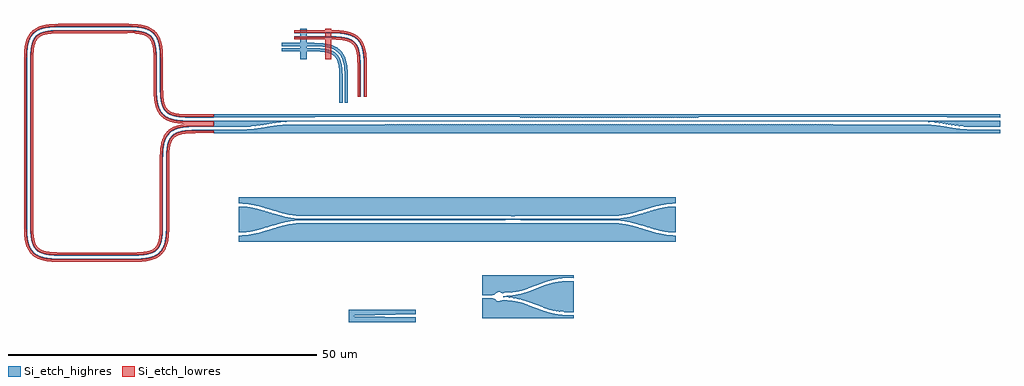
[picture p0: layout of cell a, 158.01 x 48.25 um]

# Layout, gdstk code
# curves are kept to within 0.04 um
import gdstk
lib = gdstk.Library(unit=1e-6, precision=1e-09)
def R(c, l, rs):  # rectangles x0, y0, x1, y1
    for r in rs: c.add(gdstk.rectangle(r[:2], r[2:], *l))
def P(c, l, *ps):  # polygons
    for p in ps: c.add(gdstk.Polygon(p, *l))
Si_etch_highres = (100, 0)
Si_etch_lowres = (101, 0)

ebeam_y_1550 = lib.new_cell('ebeam_y_1550')
P(ebeam_y_1550, Si_etch_highres, [(-5.926,0.245),(-7.4,0.25),(-7.4,3.5),(7.4,3.5),(7.4,3),(5.66,2.97),(4.147,2.762),(2.763,2.39),(-0.181,1.268),(-1.299,0.929),(-2.334,0.724),(-3.296,0.622),(-4.123,0.595),(-4.509,0.701),(-5.016,0.698),(-5.442,0.374)],
  [(6.456,-2.5),(5.119,-2.415),(3.799,-2.171),(2.706,-1.841),(-0.72,-0.567),(-2.381,-0.212),(-4,-0.1),(-4,0.1),(-2.493,0.197),(-1.009,0.487),(0.031,0.813),(2.869,1.898),(4.193,2.261),(5.678,2.47),(7.4,2.5),(7.4,-2.5)],
  [(-7.4,-3.5),(-7.4,-0.25),(-5.833,-0.25),(-5.434,-0.378),(-5.145,-0.647),(-4.991,-0.701),(-4.492,-0.699),(-4.123,-0.595),(-3.63,-0.606),(-1.909,-0.796),(-0.513,-1.154),(2.555,-2.318),(3.81,-2.688),(5.507,-2.958),(7.4,-3),(7.4,-3.5)])

ebeam_terminator_te1550 = lib.new_cell('ebeam_terminator_te1550')
P(ebeam_terminator_te1550, Si_etch_highres, [(-10.9,-1),(-10.9,1),(0,1),(0,0.25),(-10,0.03),(-10,-0.03),(0,-0.25),(0,-1)])

ebeam_bdc_te1550 = lib.new_cell('ebeam_bdc_te1550')
P(ebeam_bdc_te1550, Si_etch_highres, [(8.65,0.55),(7.65,0.6),(-25.958,0.62),(-27.055,0.75),(-28.135,0.975),(-32.95,2.326),(-34.288,2.543),(-35.45,2.6),(-35.45,3.6),(35.3,3.6),(35.3,2.6),(34.138,2.543),(32.8,2.326),(28.278,1.049),(26.31,0.666),(25.2,0.6),(10.2,0.6)],
  [(-35.45,-2.1),(-35.45,2.1),(-34.34,2.045),(-33.251,1.877),(-31.98,1.573),(-27.851,0.396),(-26.621,0.181),(-25.35,0.1),(7.65,0.1),(8.65,0.15),(10.2,0.1),(25.522,0.105),(26.679,0.209),(28.003,0.465),(31.733,1.546),(33.002,1.857),(34.19,2.045),(35.3,2.1),(35.3,-2.1),(34.19,-2.045),(32.904,-1.837),(28.104,-0.49),(26.988,-0.257),(26.052,-0.137),(10.2,-0.1),(9.2,-0.05),(7.65,-0.1),(-25.672,-0.105),(-26.829,-0.209),(-28.153,-0.465),(-31.883,-1.546),(-33.152,-1.857),(-34.34,-2.045)],
  [(-35.45,-3.6),(-35.45,-2.6),(-34.288,-2.543),(-33.153,-2.368),(-31.848,-2.055),(-27.842,-0.906),(-26.659,-0.69),(-25.554,-0.602),(7.65,-0.6),(8.65,-0.65),(10.2,-0.6),(25.505,-0.605),(26.608,-0.704),(27.79,-0.929),(31.698,-2.055),(33.003,-2.368),(34.138,-2.543),(35.3,-2.6),(35.3,-3.6)])

waveguide_5 = lib.new_cell('Waveguide$5')
P(waveguide_5, Si_etch_highres, [(10.175,0),(10.17,4.436),(10.081,5.782),(9.933,6.585),(9.701,7.267),(9.372,7.836),(9.032,8.212),(8.621,8.517),(8.139,8.755),(6.952,9.058),(5.435,9.171),(0,9.175),(0,9.675),(5.445,9.671),(6.844,9.578),(7.708,9.418),(8.325,9.22),(8.881,8.944),(9.368,8.582),(9.861,8.009),(10.219,7.326),(10.457,6.542),(10.617,5.47),(10.673,4.228),(10.675,0)],
  [(9.325,0),(9.323,4.212),(9.256,5.514),(9.004,6.722),(8.789,7.18),(8.523,7.523),(8.179,7.79),(7.721,8.005),(7.115,8.167),(6.347,8.274),(5.213,8.324),(0,8.325),(0,8.825),(5.217,8.824),(6.392,8.772),(7.211,8.658),(7.889,8.476),(8.339,8.276),(8.796,7.952),(9.156,7.535),(9.475,6.89),(9.686,6.058),(9.785,5.212),(9.825,0)])

c_df = lib.new_cell('df')
c_df.add(gdstk.Reference(waveguide_5, (0,0)))

waveguide_4 = lib.new_cell('Waveguide$4')
P(waveguide_4, Si_etch_highres, [(-39.005,-36.45),(-40.257,-36.409),(-41.331,-36.271),(-41.806,-36.158),(-42.242,-36.01),(-42.884,-35.675),(-43.218,-35.414),(-43.415,-35.217),(-43.594,-34.999),(-43.824,-34.639),(-44.114,-33.954),(-44.238,-33.493),(-44.33,-32.992),(-44.422,-32.061),(-44.45,-31),(-44.45,-3.995),(-44.432,-3.139),(-44.353,-2.184),(-44.237,-1.506),(-44.064,-0.899),(-43.823,-0.36),(-43.506,0.111),(-43.217,0.415),(-42.764,0.752),(-42.379,0.953),(-41.805,1.159),(-41.164,1.302),(-40.449,1.394),(-39,1.45),(-27.558,1.445),(-26.743,1.409),(-26.007,1.329),(-25.347,1.199),(-24.899,1.064),(-24.488,0.889),(-24.116,0.675),(-23.782,0.414),(-23.493,0.11),(-23.248,-0.236),(-23.047,-0.621),(-22.886,-1.046),(-22.762,-1.507),(-22.625,-2.366),(-22.559,-3.347),(-22.55,-8.65),(-22.497,-10.018),(-22.415,-10.661),(-22.292,-11.208),(-22.13,-11.662),(-21.869,-12.114),(-21.54,-12.461),(-21.111,-12.734),(-20.68,-12.906),(-20.01,-13.066),(-19.367,-13.148),(-18.423,-13.196),(-14,-13.2),(-14,-13.4),(-18.427,-13.396),(-19.206,-13.362),(-19.889,-13.288),(-20.612,-13.136),(-21.2,-12.913),(-21.667,-12.616),(-22.03,-12.233),(-22.262,-11.851),(-22.446,-11.392),(-22.584,-10.847),(-22.696,-10.036),(-22.748,-8.867),(-22.759,-3.353),(-22.823,-2.387),(-22.957,-1.551),(-23.077,-1.107),(-23.23,-0.703),(-23.419,-0.34),(-23.648,-0.017),(-24.119,0.432),(-24.456,0.647),(-24.832,0.824),(-25.396,1.005),(-26.036,1.131),(-26.757,1.209),(-27.562,1.245),(-39,1.25),(-40.431,1.195),(-41.13,1.105),(-41.75,0.966),(-42.167,0.825),(-42.66,0.581),(-43.082,0.267),(-43.432,-0.119),(-43.647,-0.456),(-43.875,-0.967),(-44.042,-1.55),(-44.155,-2.209),(-44.222,-2.95),(-44.248,-3.777),(-44.233,-31.851),(-44.177,-32.613),(-44.075,-33.292),(-43.923,-33.893),(-43.77,-34.297),(-43.51,-34.771),(-43.177,-35.177),(-42.881,-35.432),(-42.423,-35.71),(-41.894,-35.922),(-41.293,-36.074),(-40.614,-36.176),(-39.648,-36.24),(-26.563,-36.246),(-25.387,-36.177),(-24.551,-36.043),(-24.107,-35.923),(-23.703,-35.77),(-23.12,-35.433),(-22.823,-35.177),(-22.568,-34.881),(-22.231,-34.298),(-22.078,-33.894),(-21.958,-33.45),(-21.806,-32.432),(-21.75,-31.003),(-21.741,-19.519),(-21.697,-18.765),(-21.613,-18.106),(-21.486,-17.538),(-21.314,-17.057),(-21.153,-16.75),(-20.966,-16.483),(-20.583,-16.12),(-20.094,-15.837),(-19.342,-15.596),(-18.56,-15.472),(-17.632,-15.41),(-14,-15.4),(-14,-15.6),(-17.821,-15.618),(-18.704,-15.689),(-19.431,-15.823),(-20.012,-16.02),(-20.297,-16.169),(-20.541,-16.34),(-20.87,-16.687),(-21.131,-17.139),(-21.293,-17.593),(-21.416,-18.14),(-21.498,-18.783),(-21.541,-19.525),(-21.55,-31.005),(-21.607,-32.45),(-21.763,-33.494),(-21.99,-34.242),(-22.177,-34.64),(-22.407,-35),(-22.586,-35.218),(-22.89,-35.507),(-23.117,-35.676),(-23.489,-35.89),(-24.195,-36.159),(-25.008,-36.33),(-25.939,-36.422),(-27,-36.45)],
  [(-39,-35.75),(-40.207,-35.711),(-41.197,-35.584),(-41.865,-35.405),(-42.201,-35.262),(-42.494,-35.093),(-42.747,-34.896),(-42.966,-34.667),(-43.263,-34.2),(-43.406,-33.864),(-43.522,-33.479),(-43.66,-32.728),(-43.723,-32.021),(-43.75,-31),(-43.748,-3.783),(-43.711,-2.793),(-43.637,-2.11),(-43.521,-1.52),(-43.36,-1.018),(-43.209,-0.696),(-42.965,-0.332),(-42.667,-0.034),(-42.303,0.21),(-41.864,0.406),(-41.479,0.522),(-40.889,0.638),(-40.206,0.712),(-39,0.75),(-27.572,0.745),(-26.793,0.711),(-26.11,0.637),(-25.52,0.521),(-25.018,0.36),(-24.696,0.209),(-24.417,0.03),(-24.177,-0.177),(-23.969,-0.418),(-23.79,-0.697),(-23.639,-1.019),(-23.415,-1.804),(-23.303,-2.615),(-23.259,-3.369),(-23.248,-8.873),(-23.194,-10.082),(-23.074,-10.943),(-22.922,-11.544),(-22.71,-12.073),(-22.432,-12.531),(-22.082,-12.917),(-21.543,-13.298),(-21.032,-13.526),(-20.292,-13.725),(-19.613,-13.827),(-18.647,-13.891),(-14,-13.9),(-14,-14.1),(-18.653,-14.091),(-19.449,-14.044),(-20.164,-13.952),(-20.954,-13.764),(-21.639,-13.474),(-21.999,-13.244),(-22.217,-13.065),(-22.593,-12.65),(-22.889,-12.162),(-23.113,-11.605),(-23.271,-10.981),(-23.393,-10.1),(-23.448,-8.875),(-23.454,-3.577),(-23.502,-2.633),(-23.584,-1.99),(-23.783,-1.204),(-23.916,-0.889),(-24.072,-0.619),(-24.251,-0.389),(-24.459,-0.19),(-24.703,-0.019),(-24.988,0.13),(-25.442,0.292),(-25.989,0.415),(-26.632,0.497),(-27.374,0.54),(-39,0.55),(-40.192,0.512),(-40.703,0.462),(-41.297,0.36),(-41.796,0.217),(-42.207,0.034),(-42.54,-0.189),(-42.81,-0.459),(-43.033,-0.792),(-43.174,-1.092),(-43.359,-1.702),(-43.461,-2.296),(-43.523,-2.99),(-43.548,-3.785),(-43.541,-31.625),(-43.498,-32.367),(-43.416,-33.01),(-43.293,-33.557),(-43.131,-34.011),(-42.928,-34.381),(-42.682,-34.682),(-42.382,-34.927),(-42.012,-35.13),(-41.558,-35.292),(-41.011,-35.415),(-40.368,-35.497),(-39.626,-35.54),(-26.785,-35.549),(-25.633,-35.498),(-24.703,-35.36),(-24.093,-35.175),(-23.793,-35.034),(-23.537,-34.87),(-23.318,-34.682),(-23.131,-34.464),(-22.967,-34.208),(-22.826,-33.908),(-22.641,-33.298),(-22.503,-32.368),(-22.45,-31),(-22.441,-19.497),(-22.394,-18.701),(-22.302,-17.986),(-22.159,-17.345),(-21.953,-16.771),(-21.594,-16.151),(-21.415,-15.933),(-21.111,-15.644),(-20.765,-15.399),(-20.38,-15.198),(-19.653,-14.951),(-18.816,-14.797),(-17.861,-14.718),(-14,-14.7),(-14,-14.9),(-17.852,-14.918),(-18.964,-15.019),(-19.751,-15.185),(-20.423,-15.44),(-20.984,-15.799),(-21.433,-16.27),(-21.77,-16.853),(-21.966,-17.4),(-22.105,-18.02),(-22.195,-18.719),(-22.241,-19.503),(-22.25,-31),(-22.304,-32.386),(-22.446,-33.342),(-22.64,-33.982),(-22.907,-34.494),(-23.104,-34.747),(-23.333,-34.966),(-23.6,-35.153),(-23.907,-35.314),(-24.521,-35.522),(-25.272,-35.66),(-26.171,-35.733)])
P(waveguide_4, Si_etch_lowres, [(-39,-35.65),(-40.2,-35.611),(-41.028,-35.513),(-41.831,-35.31),(-42.438,-35.01),(-42.823,-34.679),(-43.173,-34.156),(-43.39,-33.585),(-43.561,-32.715),(-43.65,-31),(-43.648,-3.784),(-43.538,-2.125),(-43.267,-1.055),(-42.822,-0.32),(-42.255,0.122),(-41.454,0.425),(-40.199,0.612),(-27.574,0.645),(-26.125,0.538),(-25.055,0.267),(-24.476,-0.05),(-24.049,-0.477),(-23.732,-1.056),(-23.514,-1.823),(-23.359,-3.372),(-23.348,-8.874),(-23.294,-10.091),(-23.173,-10.962),(-23.018,-11.574),(-22.8,-12.117),(-22.512,-12.59),(-22.149,-12.991),(-21.712,-13.316),(-21.066,-13.621),(-20.471,-13.791),(-19.624,-13.926),(-18.65,-13.991),(-14,-14),(-14,-14.4),(-18.663,-14.391),(-20.215,-14.248),(-21.045,-14.05),(-21.783,-13.737),(-22.418,-13.287),(-22.834,-12.828),(-23.158,-12.295),(-23.399,-11.696),(-23.565,-11.038),(-23.692,-10.127),(-23.748,-8.879),(-23.754,-3.582),(-23.88,-2.041),(-24.065,-1.305),(-24.321,-0.786),(-24.649,-0.422),(-25.11,-0.144),(-26.184,0.142),(-27.581,0.245),(-39.992,0.224),(-41.101,0.094),(-41.978,-0.185),(-42.526,-0.589),(-42.896,-1.204),(-43.163,-2.334),(-43.248,-3.789),(-43.241,-31.615),(-43.143,-32.815),(-42.897,-33.795),(-42.527,-34.41),(-42.215,-34.678),(-41.89,-34.856),(-40.96,-35.119),(-39.616,-35.24),(-26.788,-35.249),(-25.83,-35.213),(-24.899,-35.094),(-24.205,-34.897),(-23.715,-34.629),(-23.372,-34.286),(-23.104,-33.796),(-22.934,-33.233),(-22.802,-32.341),(-22.75,-31),(-22.741,-19.487),(-22.566,-17.763),(-22.4,-17.105),(-22.159,-16.506),(-21.739,-15.85),(-21.178,-15.316),(-20.502,-14.924),(-19.727,-14.66),(-18.854,-14.499),(-17.875,-14.419),(-14,-14.4),(-14,-14.8),(-18.056,-14.829),(-19.148,-14.947),(-19.924,-15.132),(-20.592,-15.415),(-21.048,-15.721),(-21.513,-16.211),(-21.861,-16.812),(-22.204,-18.003),(-22.341,-19.5),(-22.35,-31),(-22.404,-32.377),(-22.544,-33.32),(-22.733,-33.945),(-23.05,-34.524),(-23.397,-34.888),(-23.844,-35.173),(-24.415,-35.39),(-25.126,-35.539),(-25.985,-35.624)],
  [(-39.008,-36.75),(-40.279,-36.708),(-41.388,-36.565),(-42.354,-36.288),(-43.051,-35.924),(-43.637,-35.418),(-44.087,-34.783),(-44.4,-34.045),(-44.627,-33.037),(-44.75,-31),(-44.75,-3.992),(-44.651,-2.146),(-44.346,-0.798),(-44.086,-0.216),(-43.834,0.178),(-43.418,0.637),(-43.05,0.925),(-42.045,1.4),(-40.667,1.674),(-39.226,1.749),(-27.553,1.745),(-25.962,1.626),(-24.798,1.346),(-23.949,0.924),(-23.363,0.418),(-22.841,-0.356),(-22.509,-1.274),(-22.348,-2.147),(-22.259,-3.337),(-22.198,-9.991),(-22.004,-11.126),(-21.856,-11.54),(-21.628,-11.936),(-21.35,-12.229),(-20.978,-12.465),(-19.959,-12.77),(-18.418,-12.896),(-14,-12.9),(-14,-13.3),(-18.425,-13.296),(-19.874,-13.189),(-20.585,-13.04),(-21.156,-12.823),(-21.603,-12.538),(-21.95,-12.174),(-22.222,-11.703),(-22.389,-11.236),(-22.596,-10.027),(-22.648,-8.866),(-22.659,-3.35),(-22.724,-2.376),(-22.859,-1.529),(-23.139,-0.662),(-23.57,0.047),(-24.172,0.592),(-24.795,0.917),(-25.852,1.203),(-27.349,1.34),(-39,1.35),(-40.44,1.295),(-41.777,1.062),(-42.712,0.666),(-43.047,0.43),(-43.429,0.048),(-43.735,-0.408),(-43.97,-0.933),(-44.254,-2.196),(-44.348,-3.776),(-44.333,-31.856),(-44.174,-33.311),(-44.019,-33.923),(-43.801,-34.466),(-43.247,-35.247),(-42.467,-35.8),(-41.924,-36.018),(-41.312,-36.173),(-39.651,-36.34),(-26.778,-36.349),(-25.56,-36.295),(-24.529,-36.141),(-23.796,-35.918),(-23.173,-35.593),(-22.571,-35.048),(-22.2,-34.467),(-21.898,-33.629),(-21.725,-32.625),(-21.65,-31.004),(-21.641,-19.522),(-21.514,-18.123),(-21.223,-17.098),(-20.951,-16.627),(-20.524,-16.2),(-20.053,-15.928),(-19.32,-15.694),(-17.629,-15.51),(-14,-15.5),(-14,-15.9),(-17.807,-15.917),(-19.357,-16.114),(-19.89,-16.294),(-20.286,-16.522),(-20.579,-16.8),(-20.857,-17.261),(-21.12,-18.191),(-21.241,-19.535),(-21.25,-31.008),(-21.327,-32.668),(-21.51,-33.727),(-21.774,-34.502),(-22.166,-35.178),(-22.7,-35.739),(-23.217,-36.087),(-23.955,-36.4),(-24.785,-36.598),(-25.922,-36.722)])

contra_directional_coupl = lib.new_cell('contra_directional_coupler')
P(contra_directional_coupl, Si_etch_highres, [(-16,0.6),(-16,1.1),(111.258,1.1),(111.258,0.6),(47.866,0.645)],
  [(-15,-0.925),(-16,-0.9),(-16,0.1),(30.432,0.063),(32.017,0.088),(32.017,0.062),(33.285,0.089),(33.285,0.061),(33.443,0.061),(33.443,0.09),(33.602,0.09),(33.602,0.061),(33.76,0.061),(33.76,0.09),(33.919,0.09),(33.919,0.061),(34.87,0.09),(34.87,0.06),(35.028,0.06),(35.028,0.091),(35.187,0.091),(35.187,0.06),(35.345,0.06),(35.345,0.091),(35.504,0.091),(35.504,0.06),(35.662,0.06),(35.662,0.091),(35.821,0.091),(35.821,0.06),(36.455,0.091),(36.455,0.059),(36.613,0.059),(36.613,0.092),(36.772,0.092),(36.772,0.059),(36.93,0.059),(36.93,0.092),(37.089,0.092),(37.089,0.059),(37.247,0.059),(37.247,0.092),(37.406,0.092),(37.406,0.059),(37.564,0.059),(37.564,0.092),(37.723,0.092),(37.723,0.059),(38.04,0.092),(38.04,0.058),(38.198,0.058),(38.198,0.093),(38.357,0.093),(38.357,0.058),(38.515,0.058),(38.515,0.093),(38.674,0.093),(38.674,0.058),(38.832,0.058),(38.832,0.093),(38.991,0.093),(38.991,0.058),(39.149,0.058),(39.149,0.093),(39.308,0.093),(39.308,0.058),(39.466,0.058),(39.466,0.093),(39.625,0.093),(39.625,0.058),(39.942,0.093),(39.942,0.057),(40.1,0.057),(40.1,0.094),(40.259,0.094),(40.259,0.057),(40.417,0.057),(40.417,0.094),(40.576,0.094),(40.576,0.057),(40.734,0.057),(40.734,0.094),(40.893,0.094),(40.893,0.057),(41.051,0.057),(41.051,0.094),(41.21,0.094),(41.21,0.057),(41.368,0.057),(41.368,0.094),(41.527,0.094),(41.527,0.057),(41.685,0.057),(41.685,0.094),(41.844,0.094),(41.844,0.057),(42.161,0.094),(42.161,0.056),(42.319,0.056),(42.319,0.095),(42.478,0.095),(42.478,0.056),(42.636,0.056),(42.636,0.095),(42.795,0.095),(42.795,0.056),(42.953,0.056),(42.953,0.095),(43.112,0.095),(43.112,0.056),(43.27,0.056),(43.27,0.095),(43.429,0.095),(43.429,0.056),(43.587,0.056),(43.587,0.095),(43.746,0.095),(43.746,0.056),(43.904,0.056),(43.904,0.095),(44.063,0.095),(44.063,0.056),(44.221,0.056),(44.221,0.095),(44.38,0.095),(44.38,0.056),(44.538,0.056),(44.538,0.095),(44.697,0.095),(44.697,0.056),(44.855,0.056),(44.855,0.095),(45.014,0.095),(45.014,0.056),(45.172,0.056),(45.172,0.095),(45.331,0.095),(45.331,0.056),(45.489,0.056),(45.489,0.095),(45.648,0.095),(45.648,0.056),(45.806,0.056),(45.806,0.095),(45.965,0.095),(45.965,0.056),(46.123,0.056),(46.123,0.095),(46.282,0.095),(46.282,0.056),(46.44,0.056),(46.44,0.095),(46.599,0.095),(46.599,0.056),(46.757,0.056),(46.757,0.095),(46.916,0.095),(46.916,0.056),(47.074,0.056),(47.074,0.095),(47.233,0.095),(47.233,0.056),(47.55,0.095),(47.55,0.055),(47.708,0.055),(47.708,0.095),(47.867,0.095),(47.867,0.056),(48.025,0.056),(48.025,0.095),(48.184,0.095),(48.184,0.056),(48.342,0.056),(48.342,0.095),(48.501,0.095),(48.501,0.056),(48.659,0.056),(48.659,0.095),(48.818,0.095),(48.818,0.056),(48.976,0.056),(48.976,0.095),(49.135,0.095),(49.135,0.056),(49.293,0.056),(49.293,0.095),(49.452,0.095),(49.452,0.056),(49.61,0.056),(49.61,0.095),(49.769,0.095),(49.769,0.056),(49.927,0.056),(49.927,0.095),(50.086,0.095),(50.086,0.056),(50.244,0.056),(50.244,0.095),(50.403,0.095),(50.403,0.056),(50.561,0.056),(50.561,0.095),(50.72,0.095),(50.72,0.056),(50.878,0.056),(50.878,0.095),(51.037,0.095),(51.037,0.056),(51.195,0.056),(51.195,0.095),(51.354,0.095),(51.354,0.056),(51.512,0.056),(51.512,0.095),(51.671,0.095),(51.671,0.056),(51.829,0.056),(51.829,0.095),(51.988,0.095),(51.988,0.056),(52.146,0.056),(52.146,0.095),(52.305,0.095),(52.305,0.056),(52.463,0.056),(52.463,0.095),(52.622,0.095),(52.622,0.056),(52.939,0.095),(52.939,0.056),(53.097,0.056),(53.097,0.095),(53.256,0.095),(53.256,0.057),(53.414,0.057),(53.414,0.094),(53.573,0.094),(53.573,0.057),(53.731,0.057),(53.731,0.094),(53.89,0.094),(53.89,0.057),(54.048,0.057),(54.048,0.094),(54.207,0.094),(54.207,0.057),(54.365,0.057),(54.365,0.094),(54.524,0.094),(54.524,0.057),(54.682,0.057),(54.682,0.094),(54.841,0.094),(54.841,0.057),(55.158,0.094),(55.158,0.057),(55.316,0.057),(55.316,0.094),(55.475,0.094),(55.475,0.058),(55.633,0.058),(55.633,0.093),(55.792,0.093),(55.792,0.058),(55.95,0.058),(55.95,0.093),(56.109,0.093),(56.109,0.058),(56.267,0.058),(56.267,0.093),(56.426,0.093),(56.426,0.058),(56.584,0.058),(56.584,0.093),(56.743,0.093),(56.743,0.058),(57.06,0.093),(57.06,0.058),(57.218,0.058),(57.218,0.093),(57.377,0.093),(57.377,0.059),(57.535,0.059),(57.535,0.092),(57.694,0.092),(57.694,0.059),(57.852,0.059),(57.852,0.092),(58.011,0.092),(58.011,0.059),(58.169,0.059),(58.169,0.092),(58.328,0.092),(58.328,0.059),(58.645,0.092),(58.645,0.059),(58.803,0.059),(58.803,0.092),(58.962,0.092),(58.962,0.06),(59.12,0.06),(59.12,0.091),(59.279,0.091),(59.279,0.06),(59.437,0.06),(59.437,0.091),(59.596,0.091),(59.596,0.06),(60.23,0.091),(60.23,0.06),(60.388,0.06),(60.388,0.091),(60.547,0.091),(60.547,0.061),(60.705,0.061),(60.705,0.09),(60.864,0.09),(60.864,0.061),(61.815,0.09),(61.815,0.061),(61.973,0.061),(61.973,0.09),(63.241,0.062),(63.241,0.089),(64.826,0.063),(64.826,0.088),(111.258,0.1),(111.258,-0.9),(110.258,-0.925),(107.001,-0.923),(105.563,-0.861),(103.984,-0.696),(100.991,-0.233),(99.763,-0.125),(98.522,-0.077),(58.011,-0.063),(58.011,-0.088),(57.852,-0.088),(57.852,-0.062),(57.694,-0.062),(57.694,-0.088),(57.535,-0.088),(57.535,-0.062),(57.377,-0.062),(57.377,-0.088),(57.218,-0.088),(57.218,-0.062),(57.06,-0.062),(57.06,-0.088),(56.901,-0.088),(56.901,-0.062),(56.743,-0.062),(56.743,-0.088),(56.584,-0.088),(56.584,-0.062),(56.426,-0.062),(56.426,-0.088),(56.267,-0.088),(56.267,-0.062),(56.109,-0.062),(56.109,-0.088),(55.95,-0.088),(55.95,-0.062),(55.792,-0.062),(55.792,-0.088),(55.633,-0.088),(55.633,-0.062),(55.475,-0.062),(55.475,-0.089),(55.316,-0.089),(55.316,-0.061),(55.158,-0.061),(55.158,-0.089),(54.999,-0.089),(54.999,-0.061),(54.841,-0.061),(54.841,-0.089),(54.682,-0.089),(54.682,-0.061),(54.524,-0.061),(54.524,-0.089),(54.365,-0.089),(54.365,-0.061),(54.207,-0.061),(54.207,-0.089),(54.048,-0.089),(54.048,-0.061),(53.89,-0.061),(53.89,-0.089),(53.731,-0.089),(53.731,-0.061),(53.573,-0.061),(53.573,-0.089),(53.414,-0.089),(53.414,-0.061),(53.256,-0.061),(53.256,-0.089),(53.097,-0.089),(53.097,-0.061),(52.939,-0.061),(52.939,-0.089),(52.78,-0.089),(52.78,-0.061),(52.622,-0.061),(52.622,-0.089),(52.463,-0.089),(52.463,-0.061),(52.305,-0.061),(52.305,-0.089),(52.146,-0.089),(52.146,-0.061),(51.988,-0.061),(51.988,-0.09),(51.829,-0.09),(51.829,-0.06),(51.671,-0.06),(51.671,-0.09),(51.512,-0.09),(51.512,-0.06),(51.354,-0.06),(51.354,-0.09),(51.195,-0.09),(51.195,-0.06),(51.037,-0.06),(51.037,-0.09),(50.878,-0.09),(50.878,-0.06),(50.72,-0.06),(50.72,-0.09),(50.561,-0.09),(50.561,-0.06),(50.403,-0.06),(50.403,-0.09),(50.244,-0.09),(50.244,-0.06),(50.086,-0.06),(50.086,-0.09),(49.927,-0.09),(49.927,-0.06),(49.769,-0.06),(49.769,-0.09),(49.61,-0.09),(49.61,-0.06),(49.452,-0.06),(49.452,-0.09),(49.293,-0.09),(49.293,-0.06),(49.135,-0.06),(49.135,-0.09),(48.976,-0.09),(48.976,-0.06),(48.818,-0.06),(48.818,-0.09),(48.659,-0.09),(48.659,-0.06),(48.501,-0.06),(48.501,-0.09),(48.342,-0.09),(48.342,-0.06),(48.184,-0.06),(48.184,-0.09),(48.025,-0.09),(48.025,-0.06),(47.867,-0.06),(47.867,-0.09),(47.708,-0.09),(47.708,-0.06),(47.55,-0.06),(47.55,-0.09),(47.391,-0.09),(47.391,-0.06),(47.233,-0.06),(47.233,-0.09),(47.074,-0.09),(47.074,-0.06),(46.916,-0.06),(46.916,-0.09),(46.757,-0.09),(46.757,-0.06),(46.599,-0.06),(46.599,-0.09),(46.44,-0.09),(46.44,-0.06),(46.282,-0.06),(46.282,-0.09),(46.123,-0.09),(46.123,-0.06),(45.965,-0.06),(45.965,-0.09),(45.806,-0.09),(45.806,-0.06),(45.648,-0.06),(45.648,-0.09),(45.489,-0.09),(45.489,-0.06),(45.331,-0.06),(45.331,-0.09),(45.172,-0.09),(45.172,-0.06),(45.014,-0.06),(45.014,-0.09),(44.855,-0.09),(44.855,-0.06),(44.697,-0.06),(44.697,-0.09),(44.538,-0.09),(44.538,-0.06),(44.38,-0.06),(44.38,-0.09),(44.221,-0.09),(44.221,-0.06),(44.063,-0.06),(44.063,-0.09),(43.904,-0.09),(43.904,-0.06),(43.746,-0.06),(43.746,-0.09),(43.587,-0.09),(43.587,-0.06),(43.429,-0.06),(43.429,-0.089),(43.27,-0.089),(43.27,-0.061),(43.112,-0.061),(43.112,-0.089),(42.953,-0.089),(42.953,-0.061),(42.795,-0.061),(42.795,-0.089),(42.636,-0.089),(42.636,-0.061),(42.478,-0.061),(42.478,-0.089),(42.319,-0.089),(42.319,-0.061),(42.161,-0.061),(42.161,-0.089),(42.002,-0.089),(42.002,-0.061),(41.844,-0.061),(41.844,-0.089),(41.685,-0.089),(41.685,-0.061),(41.527,-0.061),(41.527,-0.089),(41.368,-0.089),(41.368,-0.061),(41.21,-0.061),(41.21,-0.089),(41.051,-0.089),(41.051,-0.061),(40.893,-0.061),(40.893,-0.089),(40.734,-0.089),(40.734,-0.061),(40.576,-0.061),(40.576,-0.089),(40.417,-0.089),(40.417,-0.061),(40.259,-0.061),(40.259,-0.089),(40.1,-0.089),(40.1,-0.061),(39.942,-0.061),(39.942,-0.088),(39.783,-0.088),(39.783,-0.062),(39.625,-0.062),(39.625,-0.088),(39.466,-0.088),(39.466,-0.062),(39.308,-0.062),(39.308,-0.088),(39.149,-0.088),(39.149,-0.062),(38.991,-0.062),(38.991,-0.088),(38.832,-0.088),(38.832,-0.062),(38.674,-0.062),(38.674,-0.088),(38.515,-0.088),(38.515,-0.062),(38.357,-0.062),(38.357,-0.088),(38.198,-0.088),(38.198,-0.062),(38.04,-0.062),(38.04,-0.088),(37.881,-0.088),(37.881,-0.062),(37.723,-0.062),(37.723,-0.088),(37.564,-0.088),(37.564,-0.062),(37.406,-0.062),(37.406,-0.087),(-3.264,-0.077),(-4.505,-0.125),(-5.733,-0.233),(-8.726,-0.696),(-10.305,-0.861),(-11.743,-0.923)],
  [(-16,-1.9),(-16,-1.4),(-10.374,-1.317),(-8.695,-1.146),(-5.545,-0.665),(-3.059,-0.525),(98.317,-0.525),(100.803,-0.665),(103.953,-1.146),(105.632,-1.317),(111.258,-1.4),(111.258,-1.9)])

waveguide = lib.new_cell('Waveguide')
P(waveguide, Si_etch_highres, [(10.25,-10),(10.245,-4.562),(10.155,-3.209),(10.005,-2.396),(9.769,-1.702),(9.432,-1.119),(9.082,-0.733),(8.66,-0.419),(8.032,-0.124),(7.449,0.043),(6.613,0.177),(5.221,0.249),(-1,0.25),(-1,0.45),(5.223,0.449),(6.449,0.394),(7.33,0.272),(8.1,0.065),(8.764,-0.248),(9.217,-0.585),(9.414,-0.782),(9.675,-1.116),(10.01,-1.758),(10.237,-2.506),(10.374,-3.365),(10.448,-4.775),(10.45,-10)],
  [(9.55,-10),(9.548,-4.785),(9.48,-3.461),(9.359,-2.702),(9.174,-2.092),(8.927,-1.618),(8.611,-1.251),(8.207,-0.966),(7.796,-0.783),(7.297,-0.64),(6.538,-0.519),(5.215,-0.451),(-1,-0.45),(-1,-0.25),(5.217,-0.251),(6.385,-0.303),(7.196,-0.415),(7.864,-0.594),(8.303,-0.79),(8.746,-1.103),(9.093,-1.506),(9.262,-1.799),(9.405,-2.135),(9.584,-2.803),(9.696,-3.614),(9.75,-5.001),(9.75,-10)])
P(waveguide, Si_etch_lowres, [(10.35,-10),(10.345,-4.56),(10.254,-3.196),(10.102,-2.371),(9.86,-1.661),(9.592,-1.172),(9.149,-0.659),(8.712,-0.334),(8.204,-0.082),(6.978,0.231),(5.439,0.346),(-1,0.35),(-1,0.75),(5.226,0.749),(6.667,0.674),(7.558,0.531),(8.201,0.347),(8.919,0.008),(9.418,-0.363),(9.924,-0.949),(10.288,-1.646),(10.53,-2.441),(10.692,-3.523),(10.75,-4.992),(10.75,-10)],
  [(9.25,-10),(9.25,-5),(9.198,-3.659),(9.093,-2.898),(8.934,-2.304),(8.725,-1.858),(8.41,-1.473),(8.063,-1.229),(7.695,-1.065),(6.665,-0.836),(5.212,-0.751),(-1,-0.75),(-1,-0.35),(5.216,-0.351),(6.376,-0.403),(7.711,-0.649),(8.255,-0.878),(8.679,-1.177),(9.067,-1.651),(9.31,-2.169),(9.513,-2.972),(9.623,-3.984),(9.65,-10)])

ebeam_dc_te1550_1 = lib.new_cell('ebeam_dc_te1550$1')

c_a = lib.new_cell('a')
R(c_a, Si_etch_highres, [(0,-4,1,1)])
R(c_a, Si_etch_lowres, [(4,-4,5,1)])
c_a.add(gdstk.Reference(ebeam_y_1550, (36.85,-42.4)))
c_a.add(gdstk.Reference(ebeam_terminator_te1550, (18.7,-45.5)))
c_a.add(gdstk.Reference(ebeam_bdc_te1550, (25.5,-29.9)))
c_a.add(gdstk.Reference(c_df, (-3,-11)))
c_a.add(gdstk.Reference(waveguide_4, (0,0)))
c_a.add(gdstk.Reference(contra_directional_coupl, (2,-14)))
c_a.add(gdstk.Reference(waveguide, (0,0)))
c_a.add(gdstk.Reference(ebeam_dc_te1550_1, (50,-7)))
c_a.add(gdstk.Reference(ebeam_dc_te1550_1, (54,-3)))

lib.write_gds('a.gds')
